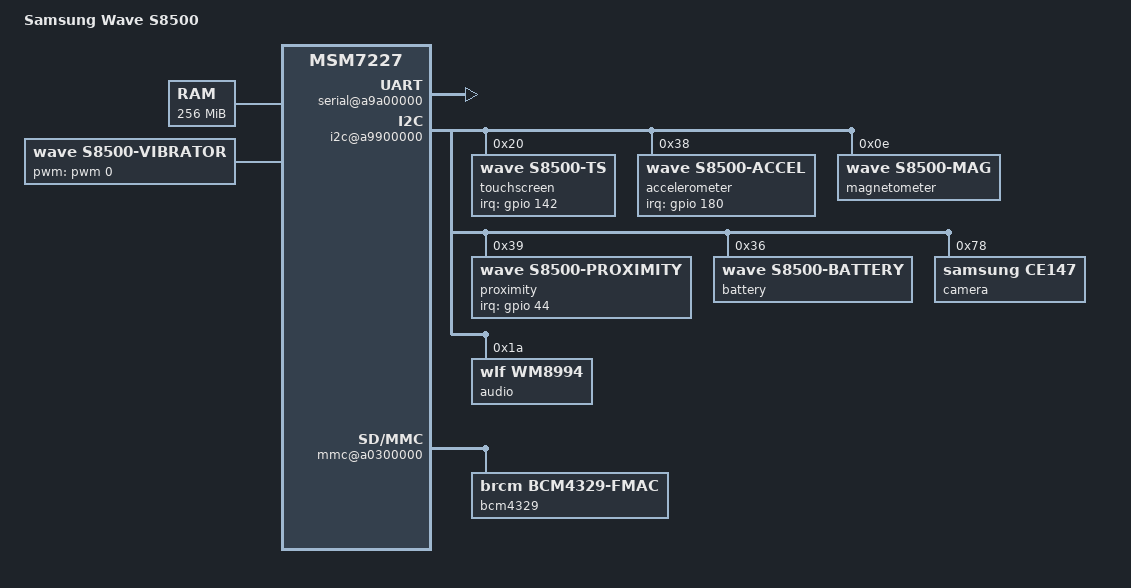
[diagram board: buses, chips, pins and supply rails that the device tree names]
/*
 * Pie Kernel - Samsung Wave S8500 Device Tree
 * Copyright (C) 2026 Bada OS Reconstruction Project
 * GPL v2
 */

/dts-v1/;

/ {
	model = "Samsung Wave S8500";
	compatible = "samsung,wave-s8500", "qcom,msm7227";

	cpus {
		cpu@0 {
			compatible = "arm,cortex-a8";
			clock-frequency = <800000000>;
		};
	};

	memory {
		reg = <0x00000000 0x10000000>; /* 256MB */
	};

	chosen {
		bootargs = "mem=256M console=ttyMSM0,115200n8 root=/dev/ram0 rw init=/init.sh";
	};

	/* Serial console */
	serial@a9a00000 {
		compatible = "qcom,msm-uart";
		reg = <0xa9a00000 0x1000>;
		interrupts = <11>;
		status = "okay";
	};

	/* I2C bus for sensors */
	i2c@a9900000 {
		compatible = "qcom,i2c-msm";
		reg = <0xa9900000 0x1000>;
		#address-cells = <1>;
		#size-cells = <0>;

		/* Synaptics touchscreen */
		touchscreen@20 {
			compatible = "wave,s8500-ts";
			reg = <0x20>;
			interrupt-parent = <&gpio>;
			interrupts = <142 2>;
		};

		/* Accelerometer */
		accelerometer@38 {
			compatible = "wave,s8500-accel";
			reg = <0x38>;
			interrupt-parent = <&gpio>;
			interrupts = <180 2>;
		};

		/* Magnetometer */
		magnetometer@0e {
			compatible = "wave,s8500-mag";
			reg = <0x0e>;
		};

		/* Proximity sensor */
		proximity@39 {
			compatible = "wave,s8500-proximity";
			reg = <0x39>;
			interrupt-parent = <&gpio>;
			interrupts = <44 2>;
		};

		/* Battery monitor */
		battery@36 {
			compatible = "wave,s8500-battery";
			reg = <0x36>;
		};

		/* CE147 Camera */
		camera@78 {
			compatible = "samsung,ce147";
			reg = <0x78>;
		};

		/* WM8994 Audio codec */
		audio@1a {
			compatible = "wlf,wm8994";
			reg = <0x1a>;
		};
	};

	/* Framebuffer / AMOLED display */
	display {
		compatible = "wave,s8500-fb";
		resolution = <480 800>;
		bits-per-pixel = <16>;
	};

	/* WiFi BCM4329 via SDIO */
	mmc@a0300000 {
		compatible = "qcom,msm-sdcc";
		reg = <0xa0300000 0x1000>;
		status = "okay";

		bcm4329: wifi {
			compatible = "brcm,bcm4329-fmac";
			firmware-name = "brcm/bcm4329-fullmac-sdio.bin";
		};
	};

	/* GPIO */
	gpio: gpio@a9000000 {
		compatible = "qcom,msm-gpio";
		reg = <0xa9000000 0x1000>;
		gpio-controller;
		#gpio-cells = <2>;
	};

	/* Vibrator */
	vibrator {
		compatible = "wave,s8500-vibrator";
		pwms = <&pwm 0 1000000>;
	};

	/* GPS */
	gps {
		compatible = "wave,s8500-gps";
		status = "okay";
	};
};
